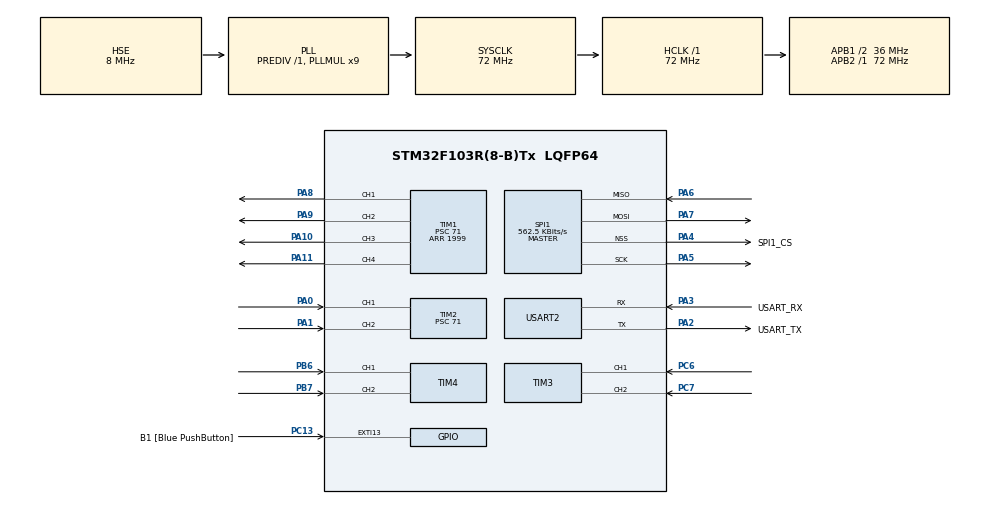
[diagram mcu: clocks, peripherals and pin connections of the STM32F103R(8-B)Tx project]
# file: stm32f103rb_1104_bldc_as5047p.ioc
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Mcu.Family=STM32F1
Mcu.Name=STM32F103R(8-B)Tx
Mcu.Package=LQFP64
NVIC.EXTI15_10_IRQn=true\:0\:0\:false\:false\:true\:true\:true\:true
NVIC.PriorityGroup=NVIC_PRIORITYGROUP_4
NVIC.TIM2_IRQn=true\:0\:0\:false\:false\:true\:true\:true\:true
PA0-WKUP.Signal=S_TIM2_CH1_ETR
PA1.Signal=S_TIM2_CH2
PA10.Signal=S_TIM1_CH3
PA11.Signal=S_TIM1_CH4
PA13.GPIO_Label=TMS
PA13.Mode=Serial_Wire
PA13.Signal=SYS_JTMS-SWDIO
PA14.GPIO_Label=TCK
PA14.Mode=Serial_Wire
PA14.Signal=SYS_JTCK-SWCLK
PA2.GPIO_Label=USART_TX
PA2.GPIO_Mode=GPIO_MODE_AF_PP
PA2.GPIO_PuPd=GPIO_NOPULL
PA2.GPIO_Speed=GPIO_SPEED_FREQ_LOW
PA2.Mode=Asynchronous
PA2.Signal=USART2_TX
PA3.GPIO_Label=USART_RX
PA3.GPIO_Mode=GPIO_MODE_AF_PP
PA3.GPIO_PuPd=GPIO_NOPULL
PA3.GPIO_Speed=GPIO_SPEED_FREQ_LOW
PA3.Mode=Asynchronous
PA3.Signal=USART2_RX
PA4.GPIO_Label=SPI1_CS
PA4.Mode=NSS_Signal_Hard_Output
PA4.Signal=SPI1_NSS
PA5.Mode=Full_Duplex_Master
PA5.Signal=SPI1_SCK
PA6.Mode=Full_Duplex_Master
PA6.Signal=SPI1_MISO
PA7.Mode=Full_Duplex_Master
PA7.Signal=SPI1_MOSI
PA8.Signal=S_TIM1_CH1
PA9.Signal=S_TIM1_CH2
PB6.Signal=S_TIM4_CH1
PB7.Signal=S_TIM4_CH2
PC13-TAMPER-RTC.GPIO_Label=B1 [Blue PushButton]
PC13-TAMPER-RTC.GPIO_PuPd=GPIO_NOPULL
PC13-TAMPER-RTC.Signal=GPXTI13
PC14-OSC32_IN.Mode=LSE-External-Oscillator
PC14-OSC32_IN.Signal=RCC_OSC32_IN
PC15-OSC32_OUT.Mode=LSE-External-Oscillator
PC15-OSC32_OUT.Signal=RCC_OSC32_OUT
PC6.Signal=S_TIM3_CH1
PC7.Signal=S_TIM3_CH2
PD0-OSC_IN.Mode=HSE-External-Clock-Source
PD0-OSC_IN.Signal=RCC_OSC_IN
PD1-OSC_OUT.Mode=HSE-External-Clock-Source
PD1-OSC_OUT.Signal=RCC_OSC_OUT
ProjectManager.HeapSize=0x200
ProjectManager.StackSize=0x400
ProjectManager.TargetToolchain=STM32CubeIDE
RCC.AHBFreq_Value=72000000
RCC.APB1CLKDivider=RCC_HCLK_DIV2
RCC.APB1Freq_Value=36000000
RCC.APB1TimFreq_Value=72000000
RCC.APB2Freq_Value=72000000
RCC.APB2TimFreq_Value=72000000
RCC.HCLKFreq_Value=72000000
RCC.PLLMUL=RCC_PLL_MUL9
RCC.PLLSourceVirtual=RCC_PLLSOURCE_HSE
RCC.RCC_MCOSource=RCC_MCO1SOURCE_HSI
RCC.RTCClockSelection=RCC_RTCCLKSOURCE_LSE
RCC.SYSCLKFreq_VALUE=72000000
RCC.SYSCLKSource=RCC_SYSCLKSOURCE_PLLCLK
RCC.USBFreq_Value=72000000
SH.S_TIM1_CH1.0=TIM1_CH1,PWM Generation1 CH1
SH.S_TIM1_CH2.0=TIM1_CH2,PWM Generation2 CH2
SH.S_TIM1_CH3.0=TIM1_CH3,PWM Generation3 CH3
SH.S_TIM1_CH4.0=TIM1_CH4,PWM Generation4 CH4
SH.S_TIM2_CH1_ETR.0=TIM2_CH1,Encoder_Interface
SH.S_TIM2_CH2.0=TIM2_CH2,Encoder_Interface
SH.S_TIM3_CH1.0=TIM3_CH1,Encoder_Interface
SH.S_TIM3_CH2.0=TIM3_CH2,Encoder_Interface
SH.S_TIM4_CH1.0=TIM4_CH1,Encoder_Interface
SH.S_TIM4_CH2.0=TIM4_CH2,Encoder_Interface
SPI1.BaudRatePrescaler=SPI_BAUDRATEPRESCALER_128
SPI1.CLKPhase=SPI_PHASE_2EDGE
SPI1.CalculateBaudRate=562.5 KBits/s
SPI1.Direction=SPI_DIRECTION_2LINES
SPI1.Mode=SPI_MODE_MASTER
SPI1.VirtualNSS=VM_NSSHARD
SPI1.VirtualType=VM_MASTER
TIM1.Channel-PWM\ Generation1\ CH1=TIM_CHANNEL_1
TIM1.Channel-PWM\ Generation2\ CH2=TIM_CHANNEL_2
TIM1.Channel-PWM\ Generation3\ CH3=TIM_CHANNEL_3
TIM1.Channel-PWM\ Generation4\ CH4=TIM_CHANNEL_4
TIM1.OCMode_PWM-PWM\ Generation3\ CH3=TIM_OCMODE_PWM1
TIM1.OCMode_PWM-PWM\ Generation4\ CH4=TIM_OCMODE_PWM1
TIM1.Period=1999
TIM1.Prescaler=71
TIM1.TIM_MasterOutputTrigger=TIM_TRGO_OC2REF
TIM2.AutoReloadPreload=TIM_AUTORELOAD_PRELOAD_DISABLE
TIM2.Period=1999
TIM2.Prescaler=71
USART2.VirtualMode=VM_ASYNC
VP_TIM1_VS_ClockSourceINT.Mode=Internal
board=NUCLEO-F103RB

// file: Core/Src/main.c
/* USER CODE BEGIN Header */
/**
  ******************************************************************************
  * @file           : main.c
  * @brief          : Main program body
  ******************************************************************************
  * @attention
  *
  * Copyright (c) 2024 STMicroelectronics.
  * All rights reserved.
  *
  * This software is licensed under terms that can be found in the LICENSE file
  * in the root directory of this software component.
  * If no LICENSE file comes with this software, it is provided AS-IS.
  *
  ******************************************************************************
  */
/* USER CODE END Header */
#include "main.h"

/* USER CODE BEGIN Includes */
#include <stdio.h>
#include "as5047p.h"
#ifdef __GNUC__
  #define PUTCHAR_PROTOTYPE int __io_putchar(int ch)
#else
  #define PUTCHAR_PROTOTYPE int fputc(int ch, FILE *f)
#endif /* __GNUC__ */
/* USER CODE END Includes */

SPI_HandleTypeDef hspi1;

TIM_HandleTypeDef htim1;
TIM_HandleTypeDef htim2;
TIM_HandleTypeDef htim3;
TIM_HandleTypeDef htim4;

UART_HandleTypeDef huart2;

/* USER CODE BEGIN PV */
as5047p_handle_t as5047p;
/* USER CODE END PV */

void SystemClock_Config(void);
static void MX_GPIO_Init(void);
static void MX_USART2_UART_Init(void);
static void MX_SPI1_Init(void);
static void MX_TIM1_Init(void);
static void MX_TIM2_Init(void);
static void MX_TIM3_Init(void);
static void MX_TIM4_Init(void);

/* USER CODE BEGIN 0 */
uint32_t prev_capture = 0;
uint32_t current_capture = 0;
uint32_t frequency = 0;

#define TIMCLOCK   72000000
#define PRESCALAR  72

uint32_t IC_Val1 = 0;
uint32_t IC_Val2 = 0;
uint32_t Difference = 0;
int Is_First_Captured = 0;

/* Measure Frequency */
//float frequency = 0;
//
//void HAL_TIM_IC_CaptureCallback(TIM_HandleTypeDef *htim)
//{
//	if (htim->Channel == HAL_TIM_ACTIVE_CHANNEL_1)
//	{
//		if (Is_First_Captured==0) // if the first rising edge is not captured
//		{
//			IC_Val1 = HAL_TIM_ReadCapturedValue(htim, TIM_CHANNEL_1); // read the first value
//			Is_First_Captured = 1;  // set the first captured as true
//		}
//
//		else   // If the first rising edge is captured, now we will capture the second edge
//		{
//			IC_Val2 = HAL_TIM_ReadCapturedValue(htim, TIM_CHANNEL_1);  // read second value
//
//			if (IC_Val2 > IC_Val1)
//			{
//				Difference = IC_Val2-IC_Val1;
//			}
//
//			else if (IC_Val1 > IC_Val2)
//			{
//				Difference = (0xffff - IC_Val1) + IC_Val2;
//			}
//
//			float refClock = TIMCLOCK/(PRESCALAR);
//
//			frequency = refClock/Difference;
//
//			__HAL_TIM_SET_COUNTER(htim, 0);  // reset the counter
//			Is_First_Captured = 0; // set it back to false
//		}
//	}
//}

/* Measure Width */
uint32_t usWidth = 0;

void HAL_TIM_IC_CaptureCallback(TIM_HandleTypeDef *htim)
{
	if (htim->Channel == HAL_TIM_ACTIVE_CHANNEL_1)
	{
		if (Is_First_Captured == 0)
		{
			IC_Val1 = HAL_TIM_ReadCapturedValue(htim, TIM_CHANNEL_1);
			Is_First_Captured = 1;
		}
		else
		{
			IC_Val2 = HAL_TIM_ReadCapturedValue(htim, TIM_CHANNEL_1);

			if (IC_Val2 > IC_Val1)
			{
				Difference = IC_Val2 - IC_Val1;
			}
			else if (IC_Val1 > IC_Val2)
			{
				Difference = (0xFFFF - IC_Val1) + IC_Val2;
			}

			float refClock = HAL_RCC_GetPCLK1Freq();  // ?��??�PCLK1频�??
			float mFactor = 1000000 / refClock;

			float usWidth = Difference * mFactor;

			printf("Pulse Width: %.2f us\r\n", usWidth);

			__HAL_TIM_SET_COUNTER(htim, 0);
			Is_First_Captured = 0;
		}
	}
}

void printf_ENTER(){
	printf("\r\n");
}
void as5047p_spi_send(uint16_t data);
uint16_t as5047p_spi_read(void);
void as5047p_spi_select(void);
void as5047p_spi_deselect(void);
void as5047p_delay(void);

/* USER CODE END 0 */

int main(void)
{
  /* USER CODE BEGIN 1 */
	void as5047p_spi_send(uint16_t data)
	{
	  HAL_SPI_Transmit(&hspi1, (uint8_t *)&data, 1, HAL_MAX_DELAY);
	}

	uint16_t as5047p_spi_read(void)
	{
	  uint16_t data = 0;
	  HAL_SPI_Receive(&hspi1, (uint8_t *)&data, 1, HAL_MAX_DELAY);
	  return data;
	}

	void as5047p_spi_select(void)
	{
	  HAL_GPIO_WritePin(SPI1_CS_GPIO_Port, SPI1_CS_Pin, GPIO_PIN_RESET);
	}

	void as5047p_spi_deselect(void)
	{
	  HAL_GPIO_WritePin(SPI1_CS_GPIO_Port, SPI1_CS_Pin, GPIO_PIN_SET);
	}

	// For 't_CSn': High time of CSn between two transmissions, >350 ns.
	void as5047p_delay(void)
	{
	  HAL_Delay(1);
	}

//	double Kp_speed = 2.286;
//	double Ki_speed = 0.5;
//	double Kd_speed = 0.0;
//
//	double Kp_phase_diff_1 = 0.0;
//	double Ki_phase_diff_1 = 0.0;
//	double Kd_phase_diff_1 = 0.0;
//	double Kp_phase_diff_2 = 0.0;
//	double Ki_phase_diff_2 = 0.0;
//	double Kd_phase_diff_2 = 0.0;
//
//	typedef struct
//	{
//	    double Kp;
//	    double Ki;
//	    double Kd;
//	    double integral;
//	    double prev_error;
//	} PID_Controller;
//
//	void PID_Init(PID_Controller* pid, double Kp, double Ki, double Kd)
//	{
//	    pid->Kp = Kp;
//	    pid->Ki = Ki;
//	    pid->Kd = Kd;
//	    pid->integral = 0.0;
//	    pid->prev_error = 0.0;
//	}
//
//	double PID_Compute(PID_Controller* pid, double error, double dt)
//	{
//	    pid->integral += error * dt;
//	    double derivative = (error - pid->prev_error) / dt;
//	    double output = (pid->Kp * error) + (pid->Ki * pid->integral) + (pid->Kd * derivative);
//	    pid->prev_error = error;
//	    return output;
//	}

  /* USER CODE END 1 */

  /* MCU Configuration--------------------------------------------------------*/

  /* Reset of all peripherals, Initializes the Flash interface and the Systick. */
  HAL_Init();

  /* Configure the system clock */
  SystemClock_Config();

  /* Initialize all configured peripherals */
  MX_GPIO_Init();
  MX_USART2_UART_Init();
  MX_SPI1_Init();
  MX_TIM1_Init();
  MX_TIM2_Init();
  MX_TIM3_Init();
  MX_TIM4_Init();
  /* USER CODE BEGIN 2 */
	TIM1->CCR1 = 900;
	TIM1->CCR3 = 900;
	TIM1->CCR4 = 900;

	HAL_TIM_PWM_Start(&htim1, TIM_CHANNEL_1);
	HAL_TIM_PWM_Start(&htim3, TIM_CHANNEL_2);
	HAL_TIM_PWM_Start(&htim1, TIM_CHANNEL_3);
	HAL_TIM_PWM_Start(&htim1, TIM_CHANNEL_4);

//  HAL_TIM_Base_Start_IT(&htim2, TIM_CHANNEL_1);
	HAL_TIM_Encoder_Start(&htim2, TIM_CHANNEL_ALL);
	HAL_TIM_Encoder_Start(&htim3, TIM_CHANNEL_ALL);
	HAL_TIM_Encoder_Start(&htim4, TIM_CHANNEL_ALL);
//  HAL_TIM_PWM_Start(&htim2, TIM_CHANNEL_1);
	printf("------------1104 DUAL BLDC speed control and encoder test--------------------------\r\n");
	as5047p_handle_t as5047p;

	as5047p_make_handle(&as5047p_spi_send,
					  &as5047p_spi_read,
					  &as5047p_spi_select,
					  &as5047p_spi_deselect,
					  &as5047p_delay,
					  &as5047p);

	as5047p_config(&as5047p, 0b00100101, 0b00000000);
	as5047p_set_zero(&as5047p, 0);

	HAL_TIM_Encoder_Start(&htim2, TIM_CHANNEL_ALL);
	__HAL_TIM_SET_COUNTER(&htim2, 0);
	HAL_TIM_Encoder_Start(&htim3, TIM_CHANNEL_ALL);
	__HAL_TIM_SET_COUNTER(&htim3, 0);
	HAL_TIM_Encoder_Start(&htim4, TIM_CHANNEL_ALL);
	__HAL_TIM_SET_COUNTER(&htim4, 0);

	int fly_mode=0, prev_left=0, prev_right=0, right_speed=0, left_speed=0, back_speed=0, prev_back=0, prev_phase = 0,
			prev_hind_back;
	int target_right_PWM=0, target_left_PWM=0,target_back_PWM=0;
	int capture_left=0, capture_right=0;
	printf("\r\nSTM32-AS5047P, Ready\r\n");
  /* USER CODE END 2 */

  /* Infinite loop */
  /* USER CODE BEGIN WHILE */
//	PID_Controller speed_controller;
//	PID_Controller phase_diff_controller_1;
//	PID_Controller phase_diff_controller_2;
//
//	PID_Init(&speed_controller, Kp_speed, Ki_speed, Kd_speed);
//	PID_Init(&phase_diff_controller_1, Kp_phase_diff_1, Ki_phase_diff_1, Kd_phase_diff_1);
//	PID_Init(&phase_diff_controller_2, Kp_phase_diff_2, Ki_phase_diff_2, Kd_phase_diff_2);

	while (1)
	{

//	  printf("test");
//	  printf_ENTER();
//	    // 读�?��?�获??
//	    current_capture = __HAL_TIM_GET_COMPARE(&htim2, TIM_CHANNEL_1);
//
//	    // 计�?��?��??
//	    if (current_capture >= prev_capture) {
//	      frequency = HAL_RCC_GetPCLK1Freq() / (current_capture - prev_capture);
//	    } else {
//	      frequency = 0;  // ?��??�溢?��等问�?????????????????
//	    }
//
//	    // ??�印频�??
//	    printf("Frequency: %lu Hz\r\n", frequency);
//
//	    prev_capture = current_capture;
//
//void as5047p_spi_select();
//	  float angle;
//	  as5047p_get_angle(&as5047p, without_daec, &angle);
//	  printf("Angle: %3i\r\n", (int)angle);
		static uint32_t last_time = 0;
		uint32_t now = HAL_GetTick();
		double dt = now - last_time;
		last_time = now;

		/*wing speed and phase control*/
		float back = __HAL_TIM_GET_COUNTER(&htim2);
		float left = __HAL_TIM_GET_COUNTER(&htim3);
		float right = __HAL_TIM_GET_COUNTER(&htim4);

		if(HAL_GPIO_ReadPin(B1_GPIO_Port, B1_Pin) == GPIO_PIN_RESET)
		{
			fly_mode++;

			while (HAL_GPIO_ReadPin(B1_GPIO_Port, B1_Pin) == GPIO_PIN_RESET);
			HAL_Delay(50);
			// while(HAL_GPIO_ReadPin(B1_GPIO_Port, B1_Pin) == GPIO_PIN_SET){}
		}

		/*phase detect*/
		float left_angle = left / 5.5555555;//3600 degree MAX
		float right_angle = right / 5.5555555;//3600 degree MAX
		float back_angle = back / 5.5555555;

		int phase_diff = (left_angle > right_angle)?
				(left_angle - right_angle):(right_angle - left_angle);
		int hind_back = phase_diff - back_angle;

		if(phase_diff > 1800)
		{
			if(left_angle > right_angle)
				phase_diff = 3600 - left_angle + right_angle;
			else
				phase_diff = 3600 - right_angle + left_angle;
		}

		if(left_angle < prev_left)
		{
			if(prev_left - left_angle > 1800)
				left_speed = (3600 - prev_left + left_angle) / dt * 60;//rpm
			else
				left_speed = (prev_left - left_angle) / dt * 60;//rpm
		}
		else
		{
			if(left_angle - prev_left > 1800)
				left_speed = (3600 - left_angle + prev_left) / dt * 60;//rpm
			else
				left_speed = (left_angle - prev_left) / dt * 60;//rpm
		}

		if(right_angle < prev_right)
		{
			if(prev_right - right_angle > 1800)
				right_speed = (3600 - prev_right + right_angle) / dt * 60;//rpm
			else
				right_speed = (prev_right - right_angle) / dt * 60;// rpm
		}
		else
		{
			if(right_angle - prev_right > 1800)
				right_speed = (3600 - right_angle + prev_right) / dt * 60;//rpm
			else
				right_speed = (right_angle - prev_right) / dt * 60;// rpm
		}

		if(back_angle < prev_back)
		{
			if(prev_back - back_angle > 1800)
				back_speed = (3600 - prev_back + back_angle) / dt * 60;//rpm
			else
				back_speed = (prev_back - back_angle) / dt * 60;// rpm
		}
		else
		{
			if(back_angle - prev_back > 1800)
				back_speed = (3600 - back_angle + prev_back) / dt * 60;//rpm
			else
				back_speed = (back_angle - prev_back) / dt * 60;// rpm
		}

		prev_left = left_angle;
		prev_right = right_angle;
		prev_back = back_angle;
		prev_phase = phase_diff;
		prev_hind_back = hind_back;

		printf("------------------------------------------------------\r\n");
//		printf("hind and back phase difference : %d\r\n", hind_back);
//		printf("left wing speed : %d per min\rright wing speed : %d per min\r\nback wing speed : %d per min\r\n",
//				left_speed, right_speed, back_speed);
		printf("%d, %d, %d, %d, %d, %d\n", fly_mode, left_speed, right_speed, phase_diff, capture_left, capture_right);
//		printf("flying mode is %d\n", fly_mode);

		int target_speed = 400;
		int target_phase_diff_hind_back= 180;
		int target_phase_diff_left_right = 0;
//		int current_speed = (right_speed + left_speed + back_speed) / 3;
//		int speed_error = target_speed - current_speed;
//		int phase_diff_error_hind_back = target_phase_diff_hind_back - hind_back;
//		int phase_diff_error_left_right = target_phase_diff_left_right - phase_diff;
		/*phase control*/
		switch(fly_mode)
		{
		case 1://wing sync
			/*fore wing speed*/
			TIM1->CCR1 = 970;//back wing speed
			TIM1->CCR3 = 1020;//right wing speed
			TIM1->CCR4 = 1020;//left wing speed

			break;
			/*correction of the balanced speed on both wings*/
		case 2:
			if(right_speed < target_speed)//TIM4
				TIM1->CCR3++;
			else if(right_speed > target_speed)
				TIM1->CCR3--;
			if(left_speed < target_speed)//TIM3
				TIM1->CCR4++;
			else if(left_speed > target_speed)
				TIM1->CCR4--;
			if(back_speed < target_speed)//TIM2
				TIM1->CCR1++;
			else if(back_speed > target_speed)
				TIM1->CCR1--;

			target_right_PWM =TIM1->CCR3;
			target_left_PWM = TIM1->CCR4;
			target_back_PWM = TIM1->CCR1;

			if(phase_diff > 50)
						{
							if(right_angle > left_angle)
							{
								TIM1->CCR3--;
								TIM1->CCR4++;
							}
							else
							{
								TIM1->CCR3++;
								TIM1->CCR4--;
							}
						}
//			if(right_speed > 385 && right_speed < 415
//					&& left_speed > 385 && left_speed < 415)
//				fly_mode = 3;

//			if(fabs(right_speed - target_speed) < 5 && fabs(left_speed - target_speed) < 5)
//				fly_mode = 3;

//			if (fabs(right_speed - target_speed) < 5 && fabs(left_speed - target_speed) < 5 &&
//					fabs(back_speed - target_speed) < 5)
//			{
//				// 计�?�相位差
////				phase_diff = fabs(left_angle - right_angle);
//				hind_back = fabs(back_angle - phase_diff + target_phase_diff_hind_back);
//
//				// 调整?��位差1（右马达??�左马达?��位�?�步�??????
//				if (phase_diff > 10) { // 10 ?��容差，可以�?�整
//					if (right_angle > left_angle) {
//						TIM1->CCR3--;
//						TIM1->CCR4++;
//					} else {
//						TIM1->CCR3++;
//						TIM1->CCR4--;
//					}
//				}
//
//				// 调整?��位差2（�?�马达相位差180度�??
//				if (hind_back > 10) { // 10 ?��容差，可以�?�整
//					if (back_angle > phase_diff) {
//						TIM1->CCR1--;
//					} else {
//						TIM1->CCR1++;
//					}
//				}
//			}

			break;
		case 3://phase difference = 0.
			if(phase_diff > 50)
			{
				if(right_angle > left_angle)
				{
					TIM1->CCR3--;
					TIM1->CCR4++;
				}
				else
				{
					TIM1->CCR3++;
					TIM1->CCR4--;
				}
			}

			else if(right_speed < 385 && left_speed < 385)
				fly_mode = 2;
//			if(phase_diff >= 0 && phase_diff <= 100)
//			{
//				TIM1->CCR3 = target_right_PWM;
//				TIM1->CCR4 = target_left_PWM;
//				TIM1->CCR1 = target_back_PWM;
//			}
//			else if(phase_diff >= 100 && phase_diff <= 800)
//			{
//				if(right_angle > left_angle)
//				{
//					HAL_TIM_PWM_Stop(&htim1, TIM_CHANNEL_3);
//					capture_left = __HAL_TIM_GET_COUNTER(&htim1);
//					if(capture_left >= 300)
//					for(int i=0; i<=10000;i++);
//						HAL_TIM_PWM_Start(&htim1, TIM_CHANNEL_3);
//					__HAL_TIM_SetCompare(&htim1, TIM_CHANNEL_3, TIM1->CCR3);
//					__HAL_TIM_SetCompare(&htim1, TIM_CHANNEL_4, TIM1->CCR4);
//					__HAL_TIM_SetCompare(&htim1, TIM_CHANNEL_1, TIM1->CCR1);
//				}
//				else
//				{
//					HAL_TIM_PWM_Stop(&htim1, TIM_CHANNEL_4);
//					capture_right = __HAL_TIM_GET_COUNTER(&htim1);
//					if(capture_right >= 300)
//						HAL_TIM_PWM_Start(&htim1, TIM_CHANNEL_4);
//				}
//			}

//			if(phase_diff <= 400 && phase_diff >= 500 &&
//					abs(phase_diff - hind_back) <= 400 && abs(phase_diff - hind_back) >= 500)
//			{
//				if(right_angle > left_angle)
//				{
//					TIM1->CCR3--;
//					TIM1->CCR4++;
//				}
//				else
//				{
//					TIM1->CCR3++;
//					TIM1->CCR4--;
//				}
//				if(phase_diff > hind_back)
//					TIM1->CCR1++;
//
//			}
//			else
//				fly_mode = 2;
//			else
//			{
//				TIM1->CCR3 = target_right_PWM;
//				TIM1->CCR4 = target_left_PWM;
//				TIM1->CCR1 = target_back_PWM;
//			}

//			if(phase_diff < 450)
//			{
//				if(phase_diff != 0)
//				{
//					if(right_angle > left_angle)
//					{
//						TIM1->CCR3--;//left wing speed
//						TIM1->CCR4++;
//					}
//					else
//					{
//						TIM1->CCR3++;
//						TIM1->CCR4--;
//					}
//				}
//			}
//			else if(phase_diff > 450 && phase_diff < 1350)
//			{
//				if(phase_diff != 900)
//				{
//					if(right_angle > left_angle)
//					{
//						TIM1->CCR3--;//left wing speed
//						TIM1->CCR4++;
//					}
//					else
//					{
//						TIM1->CCR3++;
//						TIM1->CCR4--;
//					}
//				}
//			}
//
//			else if(phase_diff > 1350)
//			{
//				if(phase_diff != 1800)
//				{
//					if(right_angle > left_angle)
//					{
//						TIM1->CCR3--;//left wing speed
//						TIM1->CCR4++;
//					}
//					else
//					{
//						TIM1->CCR3++;
//						TIM1->CCR4--;
//					}
//				}
//			}
			break;
		case 4:

			break;
		default:
			break;
		}

		/*speed detect*/

		HAL_Delay(100);
		/*float angle_deg;
		int8_t error = as5047p_get_angle(&as5047p, 1, &angle_deg);

		if (error == 0)
			printf("Angle: %f\r\n", angle_deg);

		uint16_t position;
		error = as5047p_get_position(&as5047p, without_daec, &position);

		if (error == 0)
			printf("Raw: %5i\r\n", position);*/
    /* USER CODE END WHILE */

	}
}

void SystemClock_Config(void)
{
  RCC_OscInitTypeDef RCC_OscInitStruct = {0};
  RCC_ClkInitTypeDef RCC_ClkInitStruct = {0};

  /** Initializes the RCC Oscillators according to the specified parameters
  * in the RCC_OscInitTypeDef structure.
  */
  RCC_OscInitStruct.OscillatorType = RCC_OSCILLATORTYPE_HSE;
  RCC_OscInitStruct.HSEState = RCC_HSE_BYPASS;
  RCC_OscInitStruct.HSEPredivValue = RCC_HSE_PREDIV_DIV1;
  RCC_OscInitStruct.HSIState = RCC_HSI_ON;
  RCC_OscInitStruct.PLL.PLLState = RCC_PLL_ON;
  RCC_OscInitStruct.PLL.PLLSource = RCC_PLLSOURCE_HSE;
  RCC_OscInitStruct.PLL.PLLMUL = RCC_PLL_MUL9;
  if (HAL_RCC_OscConfig(&RCC_OscInitStruct) != HAL_OK)
  {
    Error_Handler();
  }

  /** Initializes the CPU, AHB and APB buses clocks
  */
  RCC_ClkInitStruct.ClockType = RCC_CLOCKTYPE_HCLK|RCC_CLOCKTYPE_SYSCLK
                              |RCC_CLOCKTYPE_PCLK1|RCC_CLOCKTYPE_PCLK2;
  RCC_ClkInitStruct.SYSCLKSource = RCC_SYSCLKSOURCE_PLLCLK;
  RCC_ClkInitStruct.AHBCLKDivider = RCC_SYSCLK_DIV1;
  RCC_ClkInitStruct.APB1CLKDivider = RCC_HCLK_DIV2;
  RCC_ClkInitStruct.APB2CLKDivider = RCC_HCLK_DIV1;

  if (HAL_RCC_ClockConfig(&RCC_ClkInitStruct, FLASH_LATENCY_2) != HAL_OK)
  {
    Error_Handler();
  }
}

static void MX_SPI1_Init(void)
{

  /* SPI1 parameter configuration*/
  hspi1.Instance = SPI1;
  hspi1.Init.Mode = SPI_MODE_MASTER;
  hspi1.Init.Direction = SPI_DIRECTION_2LINES;
  hspi1.Init.DataSize = SPI_DATASIZE_8BIT;
  hspi1.Init.CLKPolarity = SPI_POLARITY_LOW;
  hspi1.Init.CLKPhase = SPI_PHASE_2EDGE;
  hspi1.Init.NSS = SPI_NSS_HARD_OUTPUT;
  hspi1.Init.BaudRatePrescaler = SPI_BAUDRATEPRESCALER_128;
  hspi1.Init.FirstBit = SPI_FIRSTBIT_MSB;
  hspi1.Init.TIMode = SPI_TIMODE_DISABLE;
  hspi1.Init.CRCCalculation = SPI_CRCCALCULATION_DISABLE;
  hspi1.Init.CRCPolynomial = 10;
  if (HAL_SPI_Init(&hspi1) != HAL_OK)
  {
    Error_Handler();
  }

}

static void MX_TIM1_Init(void)
{

  TIM_ClockConfigTypeDef sClockSourceConfig = {0};
  TIM_MasterConfigTypeDef sMasterConfig = {0};
  TIM_OC_InitTypeDef sConfigOC = {0};
  TIM_BreakDeadTimeConfigTypeDef sBreakDeadTimeConfig = {0};

  htim1.Instance = TIM1;
  htim1.Init.Prescaler = 71;
  htim1.Init.CounterMode = TIM_COUNTERMODE_UP;
  htim1.Init.Period = 1999;
  htim1.Init.ClockDivision = TIM_CLOCKDIVISION_DIV1;
  htim1.Init.RepetitionCounter = 0;
  htim1.Init.AutoReloadPreload = TIM_AUTORELOAD_PRELOAD_DISABLE;
  if (HAL_TIM_Base_Init(&htim1) != HAL_OK)
  {
    Error_Handler();
  }
  sClockSourceConfig.ClockSource = TIM_CLOCKSOURCE_INTERNAL;
  if (HAL_TIM_ConfigClockSource(&htim1, &sClockSourceConfig) != HAL_OK)
  {
    Error_Handler();
  }
  if (HAL_TIM_PWM_Init(&htim1) != HAL_OK)
  {
    Error_Handler();
  }
  sMasterConfig.MasterOutputTrigger = TIM_TRGO_OC2REF;
  sMasterConfig.MasterSlaveMode = TIM_MASTERSLAVEMODE_DISABLE;
  if (HAL_TIMEx_MasterConfigSynchronization(&htim1, &sMasterConfig) != HAL_OK)
  {
    Error_Handler();
  }
  sConfigOC.OCMode = TIM_OCMODE_PWM1;
  sConfigOC.Pulse = 0;
  sConfigOC.OCPolarity = TIM_OCPOLARITY_HIGH;
  sConfigOC.OCNPolarity = TIM_OCNPOLARITY_HIGH;
  sConfigOC.OCFastMode = TIM_OCFAST_DISABLE;
  sConfigOC.OCIdleState = TIM_OCIDLESTATE_RESET;
  sConfigOC.OCNIdleState = TIM_OCNIDLESTATE_RESET;
  if (HAL_TIM_PWM_ConfigChannel(&htim1, &sConfigOC, TIM_CHANNEL_1) != HAL_OK)
  {
    Error_Handler();
  }
  if (HAL_TIM_PWM_ConfigChannel(&htim1, &sConfigOC, TIM_CHANNEL_2) != HAL_OK)
  {
    Error_Handler();
  }
  if (HAL_TIM_PWM_ConfigChannel(&htim1, &sConfigOC, TIM_CHANNEL_3) != HAL_OK)
  {
    Error_Handler();
  }
  if (HAL_TIM_PWM_ConfigChannel(&htim1, &sConfigOC, TIM_CHANNEL_4) != HAL_OK)
  {
    Error_Handler();
  }
  sBreakDeadTimeConfig.OffStateRunMode = TIM_OSSR_DISABLE;
  sBreakDeadTimeConfig.OffStateIDLEMode = TIM_OSSI_DISABLE;
  sBreakDeadTimeConfig.LockLevel = TIM_LOCKLEVEL_OFF;
  sBreakDeadTimeConfig.DeadTime = 0;
  sBreakDeadTimeConfig.BreakState = TIM_BREAK_DISABLE;
  sBreakDeadTimeConfig.BreakPolarity = TIM_BREAKPOLARITY_HIGH;
  sBreakDeadTimeConfig.AutomaticOutput = TIM_AUTOMATICOUTPUT_DISABLE;
  if (HAL_TIMEx_ConfigBreakDeadTime(&htim1, &sBreakDeadTimeConfig) != HAL_OK)
  {
    Error_Handler();
  }
  HAL_TIM_MspPostInit(&htim1);

}

static void MX_TIM2_Init(void)
{

  TIM_Encoder_InitTypeDef sConfig = {0};
  TIM_MasterConfigTypeDef sMasterConfig = {0};

  htim2.Instance = TIM2;
  htim2.Init.Prescaler = 1;
  htim2.Init.CounterMode = TIM_COUNTERMODE_UP;
  htim2.Init.Period = 19999;
  htim2.Init.ClockDivision = TIM_CLOCKDIVISION_DIV1;
  htim2.Init.AutoReloadPreload = TIM_AUTORELOAD_PRELOAD_DISABLE;
  sConfig.EncoderMode = TIM_ENCODERMODE_TI1;
  sConfig.IC1Polarity = TIM_ICPOLARITY_RISING;
  sConfig.IC1Selection = TIM_ICSELECTION_DIRECTTI;
  sConfig.IC1Prescaler = TIM_ICPSC_DIV1;
  sConfig.IC1Filter = 0;
  sConfig.IC2Polarity = TIM_ICPOLARITY_RISING;
  sConfig.IC2Selection = TIM_ICSELECTION_DIRECTTI;
  sConfig.IC2Prescaler = TIM_ICPSC_DIV1;
  sConfig.IC2Filter = 0;
  if (HAL_TIM_Encoder_Init(&htim2, &sConfig) != HAL_OK)
  {
    Error_Handler();
  }
  sMasterConfig.MasterOutputTrigger = TIM_TRGO_RESET;
  sMasterConfig.MasterSlaveMode = TIM_MASTERSLAVEMODE_DISABLE;
  if (HAL_TIMEx_MasterConfigSynchronization(&htim2, &sMasterConfig) != HAL_OK)
  {
    Error_Handler();
  }

}

static void MX_TIM3_Init(void)
{

  TIM_Encoder_InitTypeDef sConfig = {0};
  TIM_MasterConfigTypeDef sMasterConfig = {0};

  htim3.Instance = TIM3;
  htim3.Init.Prescaler = 0;
  htim3.Init.CounterMode = TIM_COUNTERMODE_UP;
  htim3.Init.Period = 19999;
  htim3.Init.ClockDivision = TIM_CLOCKDIVISION_DIV1;
  htim3.Init.AutoReloadPreload = TIM_AUTORELOAD_PRELOAD_DISABLE;
  sConfig.EncoderMode = TIM_ENCODERMODE_TI1;
  sConfig.IC1Polarity = TIM_ICPOLARITY_RISING;
  sConfig.IC1Selection = TIM_ICSELECTION_DIRECTTI;
  sConfig.IC1Prescaler = TIM_ICPSC_DIV1;
  sConfig.IC1Filter = 0;
  sConfig.IC2Polarity = TIM_ICPOLARITY_RISING;
  sConfig.IC2Selection = TIM_ICSELECTION_DIRECTTI;
  sConfig.IC2Prescaler = TIM_ICPSC_DIV1;
  sConfig.IC2Filter = 0;
  if (HAL_TIM_Encoder_Init(&htim3, &sConfig) != HAL_OK)
  {
    Error_Handler();
  }
  sMasterConfig.MasterOutputTrigger = TIM_TRGO_RESET;
  sMasterConfig.MasterSlaveMode = TIM_MASTERSLAVEMODE_DISABLE;
  if (HAL_TIMEx_MasterConfigSynchronization(&htim3, &sMasterConfig) != HAL_OK)
  {
    Error_Handler();
  }

}

static void MX_TIM4_Init(void)
{

  TIM_Encoder_InitTypeDef sConfig = {0};
  TIM_MasterConfigTypeDef sMasterConfig = {0};

  htim4.Instance = TIM4;
  htim4.Init.Prescaler = 0;
  htim4.Init.CounterMode = TIM_COUNTERMODE_UP;
  htim4.Init.Period = 19999;
  htim4.Init.ClockDivision = TIM_CLOCKDIVISION_DIV1;
  htim4.Init.AutoReloadPreload = TIM_AUTORELOAD_PRELOAD_DISABLE;
  sConfig.EncoderMode = TIM_ENCODERMODE_TI1;
  sConfig.IC1Polarity = TIM_ICPOLARITY_RISING;
  sConfig.IC1Selection = TIM_ICSELECTION_DIRECTTI;
  sConfig.IC1Prescaler = TIM_ICPSC_DIV1;
  sConfig.IC1Filter = 0;
  sConfig.IC2Polarity = TIM_ICPOLARITY_RISING;
  sConfig.IC2Selection = TIM_ICSELECTION_DIRECTTI;
  sConfig.IC2Prescaler = TIM_ICPSC_DIV1;
  sConfig.IC2Filter = 0;
  if (HAL_TIM_Encoder_Init(&htim4, &sConfig) != HAL_OK)
  {
    Error_Handler();
  }
  sMasterConfig.MasterOutputTrigger = TIM_TRGO_RESET;
  sMasterConfig.MasterSlaveMode = TIM_MASTERSLAVEMODE_DISABLE;
  if (HAL_TIMEx_MasterConfigSynchronization(&htim4, &sMasterConfig) != HAL_OK)
  {
    Error_Handler();
  }

}

static void MX_USART2_UART_Init(void)
{

  huart2.Instance = USART2;
  huart2.Init.BaudRate = 115200;
  huart2.Init.WordLength = UART_WORDLENGTH_8B;
  huart2.Init.StopBits = UART_STOPBITS_1;
  huart2.Init.Parity = UART_PARITY_NONE;
  huart2.Init.Mode = UART_MODE_TX_RX;
  huart2.Init.HwFlowCtl = UART_HWCONTROL_NONE;
  huart2.Init.OverSampling = UART_OVERSAMPLING_16;
  if (HAL_UART_Init(&huart2) != HAL_OK)
  {
    Error_Handler();
  }

}

static void MX_GPIO_Init(void)
{
  GPIO_InitTypeDef GPIO_InitStruct = {0};

  /* GPIO Ports Clock Enable */
  __HAL_RCC_GPIOC_CLK_ENABLE();
  __HAL_RCC_GPIOD_CLK_ENABLE();
  __HAL_RCC_GPIOA_CLK_ENABLE();
  __HAL_RCC_GPIOB_CLK_ENABLE();

  /*Configure GPIO pin : B1_Pin */
  GPIO_InitStruct.Pin = B1_Pin;
  GPIO_InitStruct.Mode = GPIO_MODE_IT_RISING;
  GPIO_InitStruct.Pull = GPIO_NOPULL;
  HAL_GPIO_Init(B1_GPIO_Port, &GPIO_InitStruct);

  /* EXTI interrupt init*/
  HAL_NVIC_SetPriority(EXTI15_10_IRQn, 0, 0);
  HAL_NVIC_EnableIRQ(EXTI15_10_IRQn);

}

/* USER CODE BEGIN 4 */

PUTCHAR_PROTOTYPE
{
HAL_UART_Transmit(&huart2, (uint8_t *)&ch, 1, 0xFFFF);
return ch;
}
/* USER CODE END 4 */

void Error_Handler(void)
{
  __disable_irq();
  while (1)
  {
  }
}
